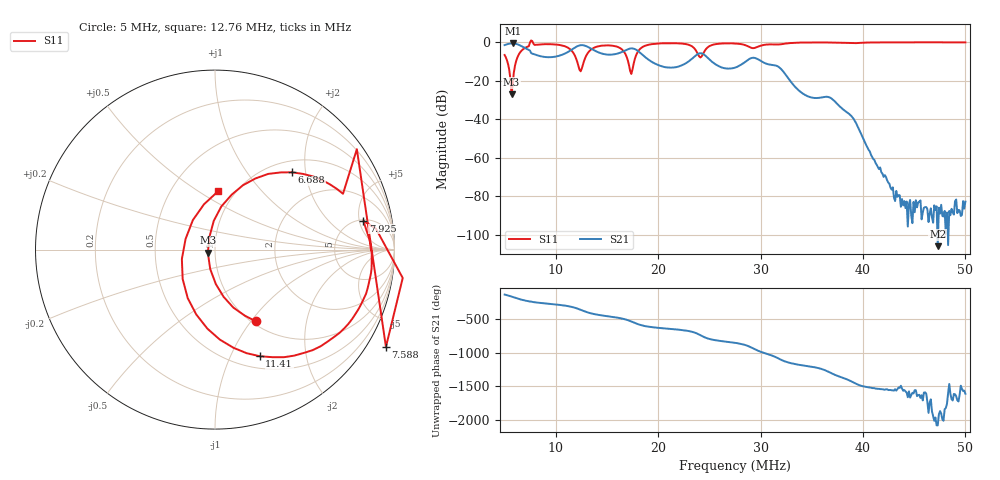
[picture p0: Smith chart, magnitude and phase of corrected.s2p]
! S11/S21 only; reverse parameters are placeholders. Device calibration unverified.
! [Saver CAL applied] C:\Users\aknya\MyProjects\rf-simulator\calibration2.cal | Ideal standards assumed | Input: NanoVNA F V2 profile | COM3 | 2026-09-08T12:25:06.9744608-04:00 | device calibration unverified
# HZ S RI R 50
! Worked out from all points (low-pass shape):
!   401 points, 5 MHz to 50 MHz, reference 50 ohm
!   highest |S21| = -0.69 dB at 5.787 MHz (marker M1); lowest = -105.8 dB at 47.3 MHz (marker M2)
!   |S21| within 3 dB of the highest: start of sweep to 7.2 MHz; 11.63 MHz to 13.51 MHz (1.881 MHz wide, 15 % of centre)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
!   lowest |S11| = -27.2 dB at 5.675 MHz (marker M3), VSWR 1.09, Z = 46.1 - j1.66 ohm
!   |S11| at or under -10 dB: 5.258 MHz to 6.122 MHz (863.5 kHz wide, 15.2 % of centre); 12.08 MHz to 12.75 MHz (672.7 kHz wide, 5.42 % of centre); 17.06 MHz to 17.66 MHz (605.3 kHz wide, 3.49 % of centre)
!   S12 and S22 are empty: the file has one direction only
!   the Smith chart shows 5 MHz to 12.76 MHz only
!   S11 on the Smith chart (normalised r, x): 5 MHz: 1.04, -1.06; 6.688 MHz: 1.23, +1.69; 7.588 MHz: -0.68, -3.66; 7.925 MHz: 5.19, +5.74; 11.41 MHz: 0.64, -1.30; 12.76 MHz: 0.83, +0.61
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5000000  0.2277 -0.3998  -0.6669 -0.4971  0 0  0 0
5675000  -0.0399 -0.0179  -0.9139 -0.1069  0 0  0 0
5787500  -0.0306 0.0722  -0.9236 -0.0165  0 0  0 0
6687500  0.4304 0.4306  -0.5849 0.5031  0 0  0 0
7587500  0.9524 -0.542  -0.2016 0.4762  0 0  0 0
7925000  0.8263 0.1611  -0.1057 0.4677  0 0  0 0
1.14125e7  0.2493 -0.5941  0.4644 0.3805  0 0  0 0
1.25375e7  -0.1234 0.1643  0.801 -0.2142  0 0  0 0
1.27625e7  0.0167 0.3245  0.7174 -0.3849  0 0  0 0
1.49e7  0.8146 -0.0782  -0.0842 -0.4684  0 0  0 0
1.6475e7  0.3792 -0.5094  -0.4111 -0.3696  0 0  0 0
1.72625e7  -0.1385 -0.1094  -0.6735 -0.0699  0 0  0 0
1.81625e7  0.3767 0.5081  -0.3687 0.4016  0 0  0 0
2.0075e7  0.9151 0.0539  0.0266 0.2469  0 0  0 0
2.39e7  0.3714 -0.289  0.4888 -0.0525  0 0  0 0
2.75e7  0.8017 -0.4445  -0.1552 -0.1508  0 0  0 0
3.155e7  0.7282 -0.4537  0.2399 0.0332  0 0  0 0
3.50375e7  0.702 -0.6716  -0.0234 -0.0276  0 0  0 0
3.88625e7  0.5337 -0.7661  0.0117 0.00307  0 0  0 0
4.2575e7  0.4434 -0.8712  -8.35e-05 -0.000197  0 0  0 0
4.73e7  0.2585 -0.9428  4.88e-07 5.13e-06  0 0  0 0
5e7  0.16 -0.9654  -7.17e-05 -1.6e-05  0 0  0 0
